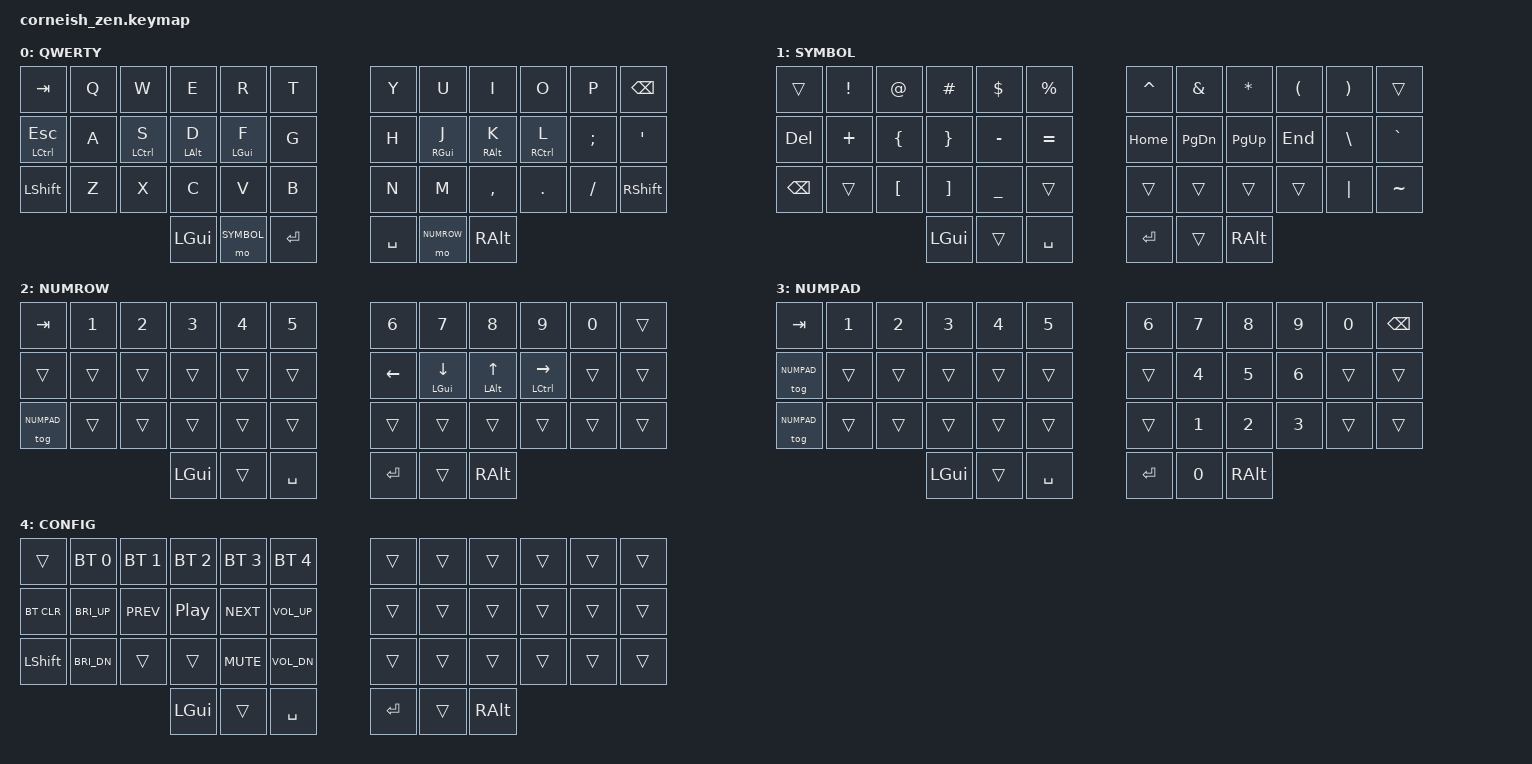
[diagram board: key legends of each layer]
/*
*
* Copyright (c) 2021 Darryl deHaan
* SPDX-License-Identifier: MIT
*
*/

#include <behaviors.dtsi>
#include <dt-bindings/zmk/keys.h>
#include <dt-bindings/zmk/bt.h>

#define QWERTY 0
#define SYMBOL 1
#define NUMROW 2
#define NUMPAD 3
#define CONFIG 4

/ {
    chosen {
        zmk,physical-layout = &foostan_corne_6col_layout;
    };
};

/ {
    conditional_layers {
        compatible = "zmk,conditional-layers";
        tri_layer {
            if-layers = <SYMBOL NUMROW>;
            then-layer = <CONFIG>;
        };
    };
};

/ {
    behaviors {
        hml: home_row_mod_left {
            compatible = "zmk,behavior-hold-tap";
            #binding-cells = <2>;
            flavor = "balanced";
            require-prior-idle-ms = <150>;
            tapping-term-ms = <280>;
            quick-tap-ms = <175>;
            bindings = <&kp>, <&kp>;
            hold-trigger-key-positions = <6 7 8 9 10 11 18 19 20 21 22 23 30 31 32 33 34 35 39 40 41>;
            hold-trigger-on-release;
        };
        hmr: home_row_mod_right {
            compatible = "zmk,behavior-hold-tap";
            #binding-cells = <2>;
            flavor = "balanced";
            require-prior-idle-ms = <150>;
            tapping-term-ms = <280>;
            quick-tap-ms = <175>;
            bindings = <&kp>, <&kp>;
            hold-trigger-key-positions = <0 1 2 3 4 5 12 13 14 15 16 17 24 25 26 27 28 29 36 37 38>;
            hold-trigger-on-release;
        };
    };
};

/ {
    keymap {
        compatible = "zmk,keymap";

        default_layer {
            display-name = "QWERTY";
// --------------------------------------------------------------------------------
// |  TAB |  Q  |  W  |  E  |  R  |  T  |   |  Y  |  U   |  I  |  O  |  P  | BSPC |
// | CTRL |  A  |  S  |  D  |  F  |  G  |   |  H  |  J   |  K  |  L  |  ;  |  '   |
// | SHFT |  Z  |  X  |  C  |  V  |  B  |   |  N  |  M   |  ,  |  .  |  /  | ESC  |
//                    | GUI | LWR | SPC |   | ENT | RSE  | ALT |
            bindings = <
&kp TAB   &kp Q &kp W &kp E &kp R &kp T   &kp Y &kp U  &kp I     &kp O   &kp P    &kp BSPC
&mt LCTRL ESC &kp A &hml LCTRL S &hml LALT D &hml LGUI F &kp G   &kp H &hmr RGUI J  &hmr RALT K &hmr RCTRL L &kp SEMI &kp SQT
&kp LSHFT &kp Z &kp X &kp C &kp V &kp B   &kp N &kp M  &kp COMMA &kp DOT &kp FSLH &kp RSHIFT
               &kp LGUI &mo SYMBOL &kp RET   &kp SPACE &mo NUMROW &kp RALT
            >;
        };

        symbol_layer {
            display-name = "SYMBOL";
// -----------------------------------------------------------------------------------------
// | TAB  |  !  |  @  |  #  |  $  |  %  |   |  ^  |  &  |  *  |  (  |  )  | BSPC |
// | DEL  |  +  |  [  |  ]  |  -  |  =  |   |HOME |PG_DN|PG_UP| END |  \  |  `   |
// | BSPC |     |  {  |  }  |  _  |     |   |     |     |     |     | "|" |  ~   |
//                    | GUI |     | SPC |   | ENT |     | ALT |
            bindings = <
&trans   &kp EXCL &kp AT   &kp HASH &kp DLLR  &kp PRCNT   &kp CARET &kp AMPS  &kp ASTRK &kp LPAR &kp RPAR &trans
&kp DEL  &kp PLUS &kp LBRC &kp RBRC &kp MINUS &kp EQUAL   &kp HOME  &kp PG_DN &kp PG_UP &kp END  &kp BSLH &kp GRAVE
&kp BSPC &trans   &kp LBKT &kp RBKT &kp UNDER &trans      &trans    &trans    &trans    &trans   &kp PIPE &kp TILDE
                          &kp LGUI &trans   &kp SPACE   &kp RET   &trans    &kp RALT
            >;
        };

        numrow_layer {
            display-name = "NUMROW";
// -----------------------------------------------------------------------------------------
// |  TAB   |  1  |  2  |  3  |  4  |  5  |   |  6  |  7  |  8  |  9  |  0  | BSPC |
// |        |     |     |     |     |     |   | LFT | DWN |  UP | RGT |     |      |
// | NUMPAD |     |     |     |     |     |   |     |     |     |     |     |      |
//                    | GUI |     | SPC |   | ENT |     | ALT |
            bindings = <
&kp TAB     &kp N1       &kp N2       &kp N3       &kp N4       &kp N5         &kp N6   &kp N7         &kp N8       &kp N9           &kp N0 &trans
&trans      &trans       &trans       &trans       &trans       &trans         &kp LEFT &hmr LGUI DOWN &hmr LALT UP &hmr LCTRL RIGHT &trans &trans
&tog NUMPAD &trans       &trans       &trans       &trans       &trans         &trans   &trans         &trans       &trans           &trans &trans
                                      &kp LGUI     &trans       &kp SPACE      &kp RET  &trans         &kp RALT
            >;
        };

        numpad_layer {
            display-name = "NUMPAD";
// -----------------------------------------------------------------------------------------
// |  TAB |  1  |  2  |  3  |  4  |  5  |   |  6  |  7  |  8  |  9  |  0  | BSPC |
// |      | BT1 | BT2 | BT3 | BT4 | BT5 |   | LFT | DWN |  UP | RGT |     |      |
// | SHFT |     |     |     |     |     |   |     |     |     |     |     |      |
//                    | GUI |     | SPC |   | ENT |     | ALT |
            bindings = <
&kp TAB     &kp N1 &kp N2 &kp N3 &kp N4 &kp N5 &kp N6 &kp N7 &kp N8 &kp N9 &kp N0 &kp BSPC
&tog NUMPAD &trans &trans &trans &trans &trans &trans &kp N4 &kp N5 &kp N6 &trans &trans
&tog NUMPAD &trans &trans &trans &trans &trans &trans &kp N1 &kp N2 &kp N3 &trans &trans
                     &kp LGUI &trans &kp SPACE &kp RET &kp N0  &kp RALT
            >;
        };

        config_layer {
            display-name = "CONFIG";
// -----------------------------------------------------------------------------------------
// |       | BT1  | BT2  | BT3   | BT4  | BT5  |   |     |     |     |     |     |      |
// | BTCLR | BRTU | PREV | PAUSE | NEXT | VOLU |   |     |     |     |     |     |      |
// |       | BRTD |      |       | MUTE | VOLD |   |     |     |     |     |     |      |
//                       | GUI   |      | SPC  |   | ENT |     | ALT |
            bindings = <
&trans     &bt BT_SEL 0 &bt BT_SEL 1 &bt BT_SEL 2 &bt BT_SEL 3 &bt BT_SEL 4 &trans &trans &trans &trans &trans &trans
&bt BT_CLR &kp C_BRI_UP &kp C_PREV   &kp C_PP     &kp C_NEXT   &kp C_VOL_UP &trans &trans &trans &trans &trans &trans
&kp LSHFT  &kp C_BRI_DN &trans       &trans       &kp C_MUTE   &kp C_VOL_DN &trans &trans &trans &trans &trans &trans
                        &kp LGUI     &trans       &kp SPACE    &kp RET      &trans &kp RALT
            >;
        };

    };
};
